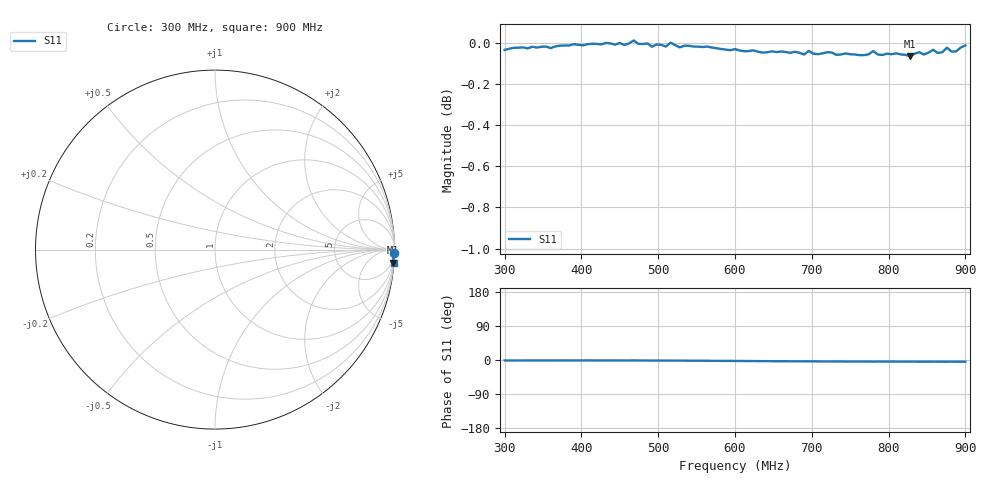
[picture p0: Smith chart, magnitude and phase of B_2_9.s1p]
# HZ S RI R 50
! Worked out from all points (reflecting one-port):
!   101 points, 300 MHz to 900 MHz, reference 50 ohm
!   lowest |S11| = -0.1 dB at 828 MHz (marker M1), VSWR 266.97, Z = 135 - j1.33e+03 ohm
!   phase of S11 starts at -1 deg and turns -3 deg over the sweep
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3e8  0.9958 -0.0216
3.12e8  0.997 -0.0229
3.3e8  0.9967 -0.0202
3.78e8  0.9983 -0.0198
4.5e8  0.9997 -0.0208
4.62e8  0.9995 -0.0224
4.68e8  1.001 -0.0177
4.74e8  0.9992 -0.0224
5.1e8  0.9976 -0.0271
5.16e8  0.9998 -0.028
5.28e8  0.9971 -0.0297
6e8  0.9956 -0.0436
6.36e8  0.9932 -0.0522
6.78e8  0.9933 -0.0604
6.84e8  0.9927 -0.0598
7.5e8  0.9912 -0.0702
7.74e8  0.9911 -0.071
7.8e8  0.9927 -0.0743
7.86e8  0.991 -0.0715
8.22e8  0.9905 -0.0746
8.28e8  0.9898 -0.0736
8.52e8  0.9915 -0.078
8.58e8  0.9933 -0.0754
8.64e8  0.9914 -0.0769
8.76e8  0.9943 -0.0776
8.82e8  0.9924 -0.075
8.88e8  0.9921 -0.0785
9e8  0.9956 -0.0767
